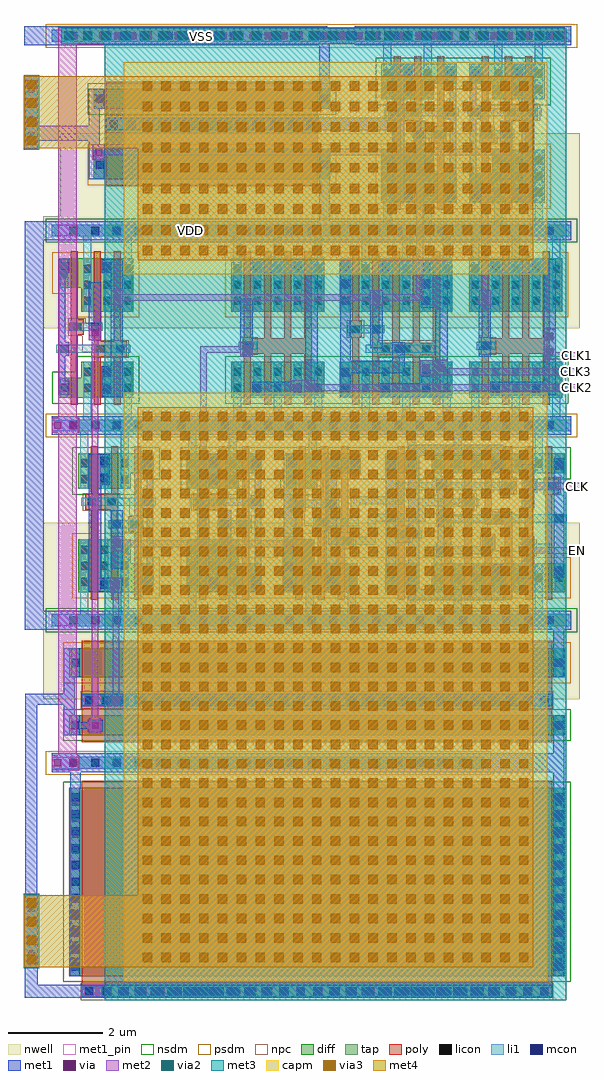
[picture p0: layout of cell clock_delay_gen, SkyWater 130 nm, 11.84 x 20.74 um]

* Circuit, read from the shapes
.subckt clock_delay_gen CLK CLK1 CLK2 CLK3 EN VDD VSS
XM1 VSS CLKBUFX2_4/A n1 VSS sky130_fd_pr__nfet_01v8 w=0.425 l=0.15
XM2 VSS CLKBUFX2_4/A VSS VSS sky130_fd_pr__nfet_01v8 w=4 l=10
XM3 VSS CLKBUFX2_6/Y CLKBUFX2_4/A VSS sky130_fd_pr__nfet_01v8 w=0.42 l=10
XM4 CLKBUFX2_6/Y n2 VSS VSS sky130_fd_pr__nfet_01v8 w=0.76 l=0.15 m=2
XM5 CLKBUFX2_7/A n1 VSS VSS sky130_fd_pr__nfet_01v8 w=0.76 l=0.15 m=2
XM6 VSS CLKBUFX2_7/Y CLKBUFX2_5/A VSS sky130_fd_pr__nfet_01v8 w=0.42 l=4.5
XM7 n2 CLKBUFX2_6/A VSS VSS sky130_fd_pr__nfet_01v8 w=0.425 l=0.15
XM8 CLKBUFX2_6/A n3 VSS VSS sky130_fd_pr__nfet_01v8 w=0.76 l=0.15 m=2
XM9 n3 CLKBUFX2_8/A VSS VSS sky130_fd_pr__nfet_01v8 w=0.425 l=0.15
XM10 CLK2 CLKBUFX2_6/A VSS VSS sky130_fd_pr__nfet_01v8 w=0.76 l=0.15 m=4
XM11 VSS n4 CLKBUFX2_8/A VSS sky130_fd_pr__nfet_01v8 w=0.76 l=0.15
XM12 n5 n6 VSS VSS sky130_fd_pr__nfet_01v8 w=0.425 l=0.15
XM13 n4 n7 n5 VSS sky130_fd_pr__nfet_01v8 w=0.425 l=0.15
XM14 VSS CLKBUFX2_7/A n8 VSS sky130_fd_pr__nfet_01v8 w=0.76 l=0.15
XM15 CLK3 n8 VSS VSS sky130_fd_pr__nfet_01v8 w=0.76 l=0.15 m=4
XM16 CLKBUFX2_7/Y n9 VSS VSS sky130_fd_pr__nfet_01v8 w=0.76 l=0.15 m=2
XM17 VSS n10 n7 VSS sky130_fd_pr__nfet_01v8 w=0.425 l=0.15
XM18 n9 CLKBUFX2_7/A VSS VSS sky130_fd_pr__nfet_01v8 w=0.425 l=0.15
XM19 VSS n11 n6 VSS sky130_fd_pr__nfet_01v8 w=0.425 l=0.15
XM20 n12 n7 VSS VSS sky130_fd_pr__nfet_01v8 w=0.425 l=0.15
XM21 CLK1 CLKINVX4_0_2/A VSS VSS sky130_fd_pr__nfet_01v8 w=0.76 l=0.15 m=4
XM22 VSS CLKBUFX2_5/A n13 VSS sky130_fd_pr__nfet_01v8 w=0.425 l=0.15
XM23 n10 n11 n12 VSS sky130_fd_pr__nfet_01v8 w=0.425 l=0.15
XM24 n14 n6 n10 VSS sky130_fd_pr__nfet_01v8 w=0.425 l=0.15
XM25 CLKINVX4_0_2/A n13 VSS VSS sky130_fd_pr__nfet_01v8 w=0.76 l=0.15 m=2
XM26 VSS EN n14 VSS sky130_fd_pr__nfet_01v8 w=0.425 l=0.15
XM27 n11 CLK VSS VSS sky130_fd_pr__nfet_01v8 w=0.425 l=0.15
XM28 VDD CLKBUFX2_4/A n1 VDD sky130_fd_pr__pfet_01v8 w=0.625 l=0.15
XM29 VDD CLKBUFX2_6/Y CLKBUFX2_4/A VDD sky130_fd_pr__pfet_01v8 w=0.62 l=10
XM30 CLKBUFX2_6/Y n2 VDD VDD sky130_fd_pr__pfet_01v8 w=1.13 l=0.15 m=2
XM31 CLKBUFX2_7/A n1 VDD VDD sky130_fd_pr__pfet_01v8 w=1.13 l=0.15 m=2
XM32 VDD CLKBUFX2_7/Y CLKBUFX2_5/A VDD sky130_fd_pr__pfet_01v8 w=0.62 l=4.5
XM33 n2 CLKBUFX2_6/A VDD VDD sky130_fd_pr__pfet_01v8 w=0.625 l=0.15
XM34 CLKBUFX2_6/A n3 VDD VDD sky130_fd_pr__pfet_01v8 w=1.13 l=0.15 m=2
XM35 n3 CLKBUFX2_8/A VDD VDD sky130_fd_pr__pfet_01v8 w=0.625 l=0.15
XM36 CLK2 CLKBUFX2_6/A VDD VDD sky130_fd_pr__pfet_01v8 w=1.13 l=0.15 m=4
XM37 VDD n4 CLKBUFX2_8/A VDD sky130_fd_pr__pfet_01v8 w=1.13 l=0.15
XM38 n4 n6 VDD VDD sky130_fd_pr__pfet_01v8 w=0.625 l=0.15
XM39 VDD n7 n4 VDD sky130_fd_pr__pfet_01v8 w=0.625 l=0.15
XM40 VDD CLKBUFX2_7/A n8 VDD sky130_fd_pr__pfet_01v8 w=1.13 l=0.15
XM41 CLK3 n8 VDD VDD sky130_fd_pr__pfet_01v8 w=1.13 l=0.15 m=4
XM42 CLKBUFX2_7/Y n9 VDD VDD sky130_fd_pr__pfet_01v8 w=1.13 l=0.15 m=2
XM43 VDD n10 n7 VDD sky130_fd_pr__pfet_01v8 w=0.625 l=0.15
XM44 n9 CLKBUFX2_7/A VDD VDD sky130_fd_pr__pfet_01v8 w=0.625 l=0.15
XM45 VDD n11 n6 VDD sky130_fd_pr__pfet_01v8 w=0.625 l=0.15
XM46 n15 n7 VDD VDD sky130_fd_pr__pfet_01v8 w=0.625 l=0.15
XM47 CLK1 CLKINVX4_0_2/A VDD VDD sky130_fd_pr__pfet_01v8 w=1.13 l=0.15 m=4
XM48 VDD CLKBUFX2_5/A n13 VDD sky130_fd_pr__pfet_01v8 w=0.625 l=0.15
XM49 n10 n6 n15 VDD sky130_fd_pr__pfet_01v8 w=0.625 l=0.15
XM50 n16 n11 n10 VDD sky130_fd_pr__pfet_01v8 w=0.625 l=0.15
XM51 CLKINVX4_0_2/A n13 VDD VDD sky130_fd_pr__pfet_01v8 w=1.13 l=0.15 m=2
XM52 VDD EN n16 VDD sky130_fd_pr__pfet_01v8 w=0.625 l=0.15
XM53 n11 CLK VDD VDD sky130_fd_pr__pfet_01v8 w=0.625 l=0.15
XC54 CLKBUFX2_4/A VSS sky130_fd_pr__cap_mim_m3_1 w=9 l=12.5
XC55 CLKBUFX2_5/A VSS sky130_fd_pr__cap_mim_m3_1 w=9 l=4.5
.ends

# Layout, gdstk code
from math import pi, radians
import gdstk
lib = gdstk.Library(unit=1e-6, precision=1e-09)
def R(c, l, rs):  # rectangles x0, y0, x1, y1
    for r in rs: c.add(gdstk.rectangle(r[:2], r[2:], *l))
def A(c, l, x, y, w, h, nx, ny, dx, dy):  # array of equal rectangles
    R(c, l, [(x+i*dx, y+j*dy, x+i*dx+w, y+j*dy+h) for i in range(nx) for j in range(ny)])
nwell = (64, 20)
diff = (65, 20)
tap = (65, 44)
poly = (66, 20)
licon = (66, 44)
li1 = (67, 20)
mcon = (67, 44)
met1_pin = (68, 16)
met1 = (68, 20)
via = (68, 44)
met2 = (69, 20)
via2 = (69, 44)
met3 = (70, 20)
via3 = (70, 44)
met4 = (71, 20)
capm = (89, 44)
nsdm = (93, 44)
psdm = (94, 20)
npc = (95, 20)

icgx1 = lib.new_cell('ICGX1')
R(icgx1, nwell, [(-0.18,2.07,6.62,4.445)])
R(icgx1, diff, [(0.135,0.59,2.965,1.015), (3.275,0.59,3.955,1.015), (4.475,0.59,6.06,1.015), (5.395,1.015,6.06,1.35), (5.465,2.42,6.13,2.925), (0.135,2.925,2.965,3.55), (3.275,2.925,3.955,3.55), (4.545,2.925,6.13,3.55)])
R(icgx1, tap, [(0,-0.125,6.44,0.125), (0,4.015,6.44,4.265)])
R(icgx1, poly, [(0.4,0.44,0.55,1.125), (0.83,0.44,0.98,1.11), (1.26,0.44,1.41,1.125), (1.69,0.44,1.84,1.835), (2.12,0.44,2.27,1.465), (2.55,0.44,2.7,1.805), (3.54,0.44,3.69,2.145), (4.74,0.44,4.89,2.285), (5.17,0.44,5.32,1.895), (5.645,0.44,5.795,1.5), (0.83,1.11,0.985,1.165), (0.27,1.125,0.55,1.455), (1.21,1.125,1.48,1.455), (0.835,1.165,0.985,2.435), (0.4,1.455,0.55,3.7), (2.06,1.465,2.33,1.795), (5.645,1.5,5.915,1.83), (2.12,1.795,2.27,3.7), (2.55,1.805,2.82,2.135), (5.715,1.83,5.865,3.7), (1.26,1.835,1.84,2.105), (5.17,1.895,5.44,2.225), (1.26,2.105,1.41,3.7), (2.55,2.135,2.7,3.7), (3.42,2.145,3.69,2.475), (5.24,2.225,5.39,3.7), (4.62,2.285,4.96,2.615), (1.62,2.315,1.89,2.645), (0.78,2.435,1.05,2.765), (3.54,2.475,3.69,3.7), (4.81,2.615,4.96,3.7), (1.69,2.645,1.84,3.7), (0.83,2.765,0.985,2.78), (0.83,2.78,0.98,3.7)])
A(icgx1, licon, 0.375, -0.085, 0.17, 0.17, 13, 2, 0.46, 4.14)
A(icgx1, licon, 0.175, 0.715, 0.17, 0.17, 7, 2, 0.43, 2.435)
A(icgx1, licon, 5.92, 2.56, 0.17, 0.17, 1, 3, 0, 0.34)
R(icgx1, licon, [(5.405,0.71,5.575,0.88), (3.315,0.715,3.485,0.885), (3.745,0.715,3.915,0.885), (4.515,0.715,4.685,0.885), (4.945,0.715,5.115,0.885), (5.85,0.715,6.02,0.885), (5.85,1.055,6.02,1.225), (0.32,1.205,0.49,1.375), (1.26,1.205,1.43,1.375), (2.11,1.545,2.28,1.715), (5.695,1.58,5.865,1.75), (1.465,1.885,1.635,2.055), (2.6,1.885,2.77,2.055), (5.22,1.975,5.39,2.145), (3.47,2.225,3.64,2.395), (4.67,2.365,4.84,2.535), (1.67,2.395,1.84,2.565), (0.83,2.515,1,2.685), (3.315,3.15,3.485,3.32), (3.745,3.15,3.915,3.32), (4.585,3.15,4.755,3.32), (5.015,3.15,5.185,3.32), (5.475,3.15,5.645,3.32)])
A(icgx1, li1, 1.035, 0.59, 0.17, 0.425, 3, 1, 0.43, 0)
A(icgx1, li1, 1.035, 2.925, 0.17, 0.625, 3, 1, 0.43, 0)
R(icgx1, li1, [(0,-0.125,6.44,0.125), (0.605,0.125,0.775,1.015), (2.325,0.125,2.495,1.015), (3.315,0.125,3.485,1.015), (5.405,0.125,5.575,1.01), (0.175,0.59,0.345,1.015), (2.755,0.59,2.925,1.205), (3.745,0.59,3.915,1.015), (4.515,0.59,4.685,1.015), (4.945,0.59,5.115,1.015), (5.85,0.59,6.02,1.35), (0.24,1.205,1,1.375), (1.18,1.205,3.705,1.375), (3.535,1.375,3.705,1.51), (3.535,1.51,4.685,1.68), (1.98,1.545,3.26,1.715), (4.935,1.58,6.005,1.75), (4.515,1.68,4.685,1.975), (3.09,1.715,3.26,1.88), (3.09,1.88,4.33,2.05), (0.095,1.885,2.85,2.055), (4.515,1.975,5.48,2.145), (4.16,2.05,4.33,2.365), (3.18,2.225,3.76,2.395), (1.67,2.315,1.84,2.565), (4.16,2.365,5.1,2.535), (5.92,2.42,6.09,3.55), (0.455,2.515,1.115,2.685), (1.67,2.565,2.925,2.735), (2.755,2.735,2.925,3.55), (0.175,2.925,0.345,3.55), (0.605,2.925,0.775,4.015), (2.325,2.925,2.495,4.015), (3.315,2.925,3.485,4.015), (3.745,2.925,3.915,3.55), (4.585,2.925,4.755,4.015), (5.015,2.925,5.185,3.55), (5.475,2.945,5.645,4.015), (0,4.015,6.44,4.265)])
A(icgx1, mcon, 0.375, -0.085, 0.17, 0.17, 13, 2, 0.46, 4.14)
A(icgx1, mcon, 0.175, 0.765, 0.17, 0.17, 1, 3, 0, 1.12)
R(icgx1, mcon, [(5.85,0.67,6.02,0.84), (4.515,0.715,4.685,0.885), (1.465,0.765,1.635,0.935), (3.745,0.765,3.915,0.935), (0.75,1.205,0.92,1.375), (2.675,1.205,2.845,1.375), (5.015,1.58,5.185,1.75), (3.745,1.88,3.915,2.05), (3.26,2.225,3.43,2.395), (0.83,2.515,1,2.685), (2.675,2.565,2.845,2.735), (5.92,2.92,6.09,3.09), (1.465,3.005,1.635,3.175), (3.745,3.005,3.915,3.175), (5.015,3.185,5.185,3.355), (5.92,3.28,6.09,3.45)])
R(icgx1, met1_pin, [(0,-0.2,6.44,0.2), (0.79,0.83,1.05,1.75), (5.89,1.73,6.11,3.51), (0.79,2.34,1.05,3.255), (0,3.94,6.44,4.34)])
R(icgx1, met1, [(0,-0.2,6.44,0.2), (1.435,0.415,3.46,0.645), (5.82,0.61,6.05,0.625), (5.82,0.625,6.11,0.9), (1.435,0.645,1.665,0.995), (3.23,0.645,3.46,3.485), (4.485,0.655,4.715,0.685), (4.485,0.685,5.215,0.915), (0.145,0.695,0.375,3.235), (3.715,0.705,3.945,3.235), (0.79,0.83,1.05,1.145), (5.85,0.9,6.11,2.86), (4.485,0.915,4.715,0.945), (4.985,0.915,5.215,3.46), (0.72,1.145,1.05,1.435), (2.645,1.145,2.875,1.435), (0.79,1.435,1.05,1.75), (2.7,1.435,2.84,2.505), (0.79,2.34,1.05,3.255), (2.645,2.505,2.875,2.795), (5.85,2.86,6.12,3.38), (1.435,2.945,1.665,3.485), (5.89,3.38,6.12,3.51), (1.435,3.485,3.46,3.715), (0,3.94,6.44,4.34)])
R(icgx1, nsdm, [(0.01,0.465,6.185,1.14), (5.27,1.14,6.185,1.475), (-0.125,3.89,6.565,4.39)])
R(icgx1, psdm, [(-0.125,-0.25,6.565,0.25), (5.34,2.295,6.255,2.8), (0.01,2.8,6.255,3.675)])
R(icgx1, npc, [(0.22,1.105,0.59,1.475), (1.16,1.105,1.53,1.475), (2.01,1.445,2.38,1.665), (5.595,1.48,5.965,1.59), (5.405,1.59,5.965,1.85), (2.01,1.665,2.725,1.785), (1.365,1.785,1.735,1.885), (2.01,1.785,2.87,1.815), (2.155,1.815,2.87,1.935), (5.405,1.85,5.68,1.875), (5.12,1.875,5.68,1.975), (1.095,1.885,1.735,1.995), (2.5,1.935,2.87,2.155), (4.895,1.975,5.68,2.135), (1.095,1.995,1.79,2.295), (3.37,2.125,3.74,2.495), (4.895,2.135,5.49,2.245), (4.895,2.245,5.165,2.265), (4.57,2.265,5.165,2.535), (1.095,2.295,1.94,2.415), (0.73,2.415,1.94,2.665), (4.57,2.535,4.94,2.635), (0.73,2.665,1.645,2.675), (0.73,2.675,1.37,2.685), (0.73,2.685,1.1,2.785)])
icgx1.add(gdstk.Label('ECK', (6,2.62), layer=68, texttype=5))
icgx1.add(gdstk.Label('VDD', (3.22,4.14), layer=68, texttype=5))
icgx1.add(gdstk.Label('VSS', (3.22,0), layer=68, texttype=5))
icgx1.add(gdstk.Label('E', (0.92,2.797), layer=68, texttype=5))
icgx1.add(gdstk.Label('CK', (0.92,1.29), layer=68, texttype=5))

clkinvx4_0 = lib.new_cell('CLKINVX4_0')
R(clkinvx4_0, nwell, [(-0.18,2.07,2.48,4.445)])
R(clkinvx4_0, diff, [(0.135,0.59,2.105,1.35), (0.135,2.42,2.105,3.55)])
R(clkinvx4_0, tap, [(0,-0.125,2.3,0.125), (0,4.015,2.3,4.265)])
A(clkinvx4_0, poly, 0.4, 0.44, 0.15, 1.085, 4, 1, 0.43, 0)
A(clkinvx4_0, poly, 0.4, 1.855, 0.15, 1.845, 4, 1, 0.43, 0)
R(clkinvx4_0, poly, [(0.38,1.525,1.84,1.855)])
A(clkinvx4_0, licon, 0.375, -0.085, 0.17, 0.17, 4, 2, 0.46, 4.14)
A(clkinvx4_0, licon, 0.175, 0.715, 0.17, 0.17, 5, 2, 0.43, 0.34)
A(clkinvx4_0, licon, 0.175, 2.56, 0.17, 0.17, 5, 3, 0.43, 0.34)
R(clkinvx4_0, licon, [(0.43,1.605,0.6,1.775)])
A(clkinvx4_0, li1, 0.175, 0.125, 0.17, 1.225, 3, 1, 0.86, 0)
A(clkinvx4_0, li1, 0.175, 2.42, 0.17, 1.595, 3, 1, 0.86, 0)
R(clkinvx4_0, li1, [(0,-0.125,2.3,0.125), (0.605,0.59,0.775,1.35), (1.465,0.59,1.635,1.35), (0.295,1.605,0.68,1.775), (0.605,2.42,0.775,3.55), (1.465,2.42,1.635,3.55), (0,4.015,2.3,4.265)])
A(clkinvx4_0, mcon, 0.375, -0.085, 0.17, 0.17, 4, 2, 0.46, 4.14)
R(clkinvx4_0, mcon, [(0.605,0.7,0.775,0.87), (1.465,0.7,1.635,0.87), (0.375,1.605,0.545,1.775), (0.605,3.3,0.775,3.47), (1.465,3.3,1.635,3.47)])
R(clkinvx4_0, met1_pin, [(1.71,1.39,1.97,2.63), (0.33,1.455,0.59,2.695)])
R(clkinvx4_0, met1, [(0,-0.2,2.3,0.2), (0.575,0.64,1.97,0.93), (1.71,0.93,1.97,3.24), (0.33,1.455,0.59,2.695), (0.575,3.24,1.97,3.53), (0,3.94,2.3,4.34)])
R(clkinvx4_0, nsdm, [(0.01,0.465,2.23,1.475), (-0.125,3.89,2.425,4.39)])
R(clkinvx4_0, psdm, [(-0.125,-0.25,2.425,0.25), (0.01,2.295,2.23,3.675)])
R(clkinvx4_0, npc, [(0.33,1.505,0.7,1.875)])
clkinvx4_0.add(gdstk.Label('VDD', (1.05,4.145), layer=68, texttype=5))
clkinvx4_0.add(gdstk.Label('VSS', (1.01,0.005), layer=68, texttype=5))
clkinvx4_0.add(gdstk.Label('A', (0.46,2.075), layer=68, texttype=5))
clkinvx4_0.add(gdstk.Label('Y', (1.84,2.01), layer=68, texttype=5))

clkbufx4 = lib.new_cell('CLKBUFX4')
R(clkbufx4, nwell, [(-0.18,2.07,2.94,4.445)])
R(clkbufx4, diff, [(0.135,0.59,2.535,1.35), (0.135,2.42,2.535,3.55)])
R(clkbufx4, tap, [(0,-0.125,2.76,0.125), (0,4.015,2.76,4.265)])
A(clkbufx4, poly, 0.83, 0.44, 0.15, 1.05, 4, 1, 0.43, 0)
A(clkbufx4, poly, 0.83, 1.76, 0.15, 1.94, 4, 1, 0.43, 0)
R(clkbufx4, poly, [(0.4,0.44,0.55,1.88), (0.83,1.49,2.27,1.76), (0.34,1.88,0.61,2.21), (0.4,2.21,0.55,3.7)])
A(clkbufx4, licon, 0.375, -0.085, 0.17, 0.17, 5, 2, 0.46, 4.14)
A(clkbufx4, licon, 0.175, 0.715, 0.17, 0.17, 6, 2, 0.43, 0.34)
A(clkbufx4, licon, 1.035, 1.54, 0.17, 0.17, 3, 1, 0.43, 0)
A(clkbufx4, licon, 0.175, 2.56, 0.17, 0.17, 6, 3, 0.43, 0.34)
R(clkbufx4, licon, [(0.39,1.96,0.56,2.13)])
A(clkbufx4, li1, 0.605, 0.125, 0.17, 1.225, 3, 1, 0.86, 0)
A(clkbufx4, li1, 0.175, 0.59, 0.17, 0.76, 3, 1, 0.86, 0)
A(clkbufx4, li1, 0.175, 2.42, 0.17, 1.13, 3, 1, 0.86, 0)
A(clkbufx4, li1, 0.605, 2.42, 0.17, 1.595, 3, 1, 0.86, 0)
R(clkbufx4, li1, [(0,-0.125,2.76,0.125), (0.69,1.54,2.145,1.71), (0.31,1.96,1.085,2.13), (0,4.015,2.76,4.265)])
A(clkbufx4, mcon, 0.375, -0.085, 0.17, 0.17, 5, 2, 0.46, 4.14)
A(clkbufx4, mcon, 0.175, 0.67, 0.17, 0.17, 3, 2, 0.86, 2.615)
R(clkbufx4, mcon, [(0.175,1.03,0.345,1.2), (1.895,1.03,2.065,1.2), (1.305,1.54,1.475,1.71), (0.835,1.96,1.005,2.13), (0.175,2.565,0.345,2.735), (1.895,2.565,2.065,2.735), (0.175,2.925,0.345,3.095), (1.895,2.925,2.065,3.095)])
R(clkbufx4, met1_pin, [(2.17,1.395,2.43,2.635), (0.79,1.635,1.05,2.875)])
R(clkbufx4, met1, [(0,-0.2,2.76,0.2), (0.145,0.61,0.375,1.11), (1.005,0.61,2.43,0.9), (1.865,0.9,2.43,1.26), (0.145,1.11,1.52,1.37), (2.17,1.26,2.43,2.505), (0.145,1.37,0.375,3.515), (1.26,1.37,1.52,1.77), (0.79,1.635,1.05,2.875), (1.865,2.505,2.43,3.225), (1.005,3.225,2.43,3.515), (0,3.94,2.76,4.34)])
R(clkbufx4, nsdm, [(0.01,0.465,2.66,1.475), (-0.125,3.89,2.885,4.39)])
R(clkbufx4, psdm, [(-0.125,-0.25,2.885,0.25), (0.01,2.295,2.66,3.675)])
R(clkbufx4, npc, [(0.935,1.44,2.165,1.81), (0.29,1.86,0.66,2.23)])
clkbufx4.add(gdstk.Label('VDD', (1.525,4.145), layer=68, texttype=5))
clkbufx4.add(gdstk.Label('VDD', (1.525,4.145), layer=68, texttype=5))
clkbufx4.add(gdstk.Label('VSS', (1.525,0.005), layer=68, texttype=5))
clkbufx4.add(gdstk.Label('A', (0.92,2.255), layer=68, texttype=5))
clkbufx4.add(gdstk.Label('Y', (2.3,2.015), layer=68, texttype=5))

clkbufx2 = lib.new_cell('CLKBUFX2')
R(clkbufx2, nwell, [(-0.18,2.07,2.48,4.445)])
R(clkbufx2, diff, [(0.135,0.59,1.735,1.015), (0.625,1.015,1.735,1.35), (0.625,2.42,1.735,2.925), (0.135,2.925,1.735,3.55)])
R(clkbufx2, tap, [(0,-0.125,2.3,0.125), (0,4.015,2.3,4.265)])
R(clkbufx2, poly, [(0.4,0.44,0.55,1.93), (0.89,0.44,1.04,1.46), (1.32,0.44,1.47,1.46), (0.89,1.46,1.59,1.79), (0.89,1.79,1.04,3.7), (1.32,1.79,1.47,3.7), (0.4,1.93,0.675,2.26), (0.4,2.26,0.55,3.7)])
A(clkbufx2, licon, 0.375, -0.085, 0.17, 0.17, 4, 2, 0.46, 4.14)
A(clkbufx2, licon, 0.665, 0.715, 0.17, 0.17, 3, 2, 0.43, 0.34)
A(clkbufx2, licon, 0.665, 2.56, 0.17, 0.17, 3, 3, 0.43, 0.34)
R(clkbufx2, licon, [(0.175,0.715,0.345,0.885), (0.94,1.54,1.11,1.71), (1.37,1.54,1.54,1.71), (0.455,2.01,0.625,2.18), (0.175,3.15,0.345,3.32)])
R(clkbufx2, li1, [(0,-0.125,2.3,0.125), (0.665,0.125,0.835,1.35), (1.525,0.125,1.695,1.35), (0.175,0.59,0.345,1.015), (1.095,0.59,1.265,1.35), (0.095,1.54,1.67,1.71), (0.375,2.01,1.085,2.18), (0.665,2.42,0.835,4.015), (1.095,2.42,1.265,3.55), (1.525,2.42,1.695,4.015), (0.175,2.925,0.345,3.55), (0,4.015,2.3,4.265)])
A(clkbufx2, mcon, 0.375, -0.085, 0.17, 0.17, 4, 2, 0.46, 4.14)
R(clkbufx2, mcon, [(1.095,0.67,1.265,0.84), (0.175,0.715,0.345,0.885), (1.095,1.03,1.265,1.2), (0.175,1.54,0.345,1.71), (0.835,2.01,1.005,2.18), (0.175,3.3,0.345,3.47), (1.095,3.3,1.265,3.47)])
R(clkbufx2, met1_pin, [(1.25,1.46,1.51,2.7), (0.79,1.805,1.05,3.045)])
R(clkbufx2, met1, [(0,-0.2,2.3,0.2), (1.065,0.61,1.51,1.26), (0.145,0.655,0.375,0.945), (0.145,0.945,0.285,1.48), (1.25,1.26,1.51,3.24), (0.145,1.48,0.375,1.77), (0.145,1.77,0.285,3.24), (0.79,1.805,1.05,3.045), (0.145,3.24,0.375,3.53), (1.065,3.24,1.51,3.53), (0,3.94,2.3,4.34)])
R(clkbufx2, nsdm, [(0.01,0.465,1.86,1.14), (0.5,1.14,1.86,1.475), (-0.125,3.89,2.425,4.39)])
R(clkbufx2, psdm, [(-0.125,-0.25,2.425,0.25), (0.5,2.295,1.86,2.8), (0.01,2.8,1.86,3.675)])
R(clkbufx2, npc, [(0.84,1.44,1.64,1.55), (0.645,1.55,1.64,1.81), (0.645,1.81,1.325,1.815), (0.645,1.815,0.92,1.91), (0.355,1.91,0.92,2.17), (0.355,2.17,0.725,2.28)])
clkbufx2.add(gdstk.Label('VDD', (1.05,4.145), layer=68, texttype=5))
clkbufx2.add(gdstk.Label('VSS', (1.01,0.005), layer=68, texttype=5))
clkbufx2.add(gdstk.Label('Y', (1.38,2.08), layer=68, texttype=5))
clkbufx2.add(gdstk.Label('A', (0.92,2.425), layer=68, texttype=5))

clock_delay_gen = lib.new_cell('clock_delay_gen')
R(clock_delay_gen, nwell, [(0.535,6.48,11.935,7.855), (3.195,14.37,4.215,16.745), (0.895,16.745,6.975,18.51)])
R(clock_delay_gen, diff, [(1.085,0.6,11.615,4.6), (1.085,5.72,11.615,6.14), (1.085,6.95,11.615,7.57), (1.605,17.53,6.635,18.15), (1.605,19.03,6.635,19.45)])
R(clock_delay_gen, tap, [(0.715,5.005,9.915,5.255), (3.015,16.315,4.395,16.565), (0.715,20.455,7.155,20.705)])
R(clock_delay_gen, poly, [(1.35,0.14,11.35,4.75), (1.35,5.57,11.35,7.72), (1.87,17.38,6.37,19.6)])
A(clock_delay_gen, licon, 1.43, 0.19, 0.17, 0.17, 3, 2, 0.35, 6.19)
A(clock_delay_gen, licon, 2.475, 0.19, 0.17, 0.17, 26, 2, 0.345, 6.19)
A(clock_delay_gen, licon, 1.125, 0.815, 0.17, 0.17, 1, 11, 0, 0.34)
A(clock_delay_gen, licon, 11.405, 0.815, 0.17, 0.17, 1, 11, 0, 0.34)
A(clock_delay_gen, licon, 1.09, 5.045, 0.17, 0.17, 19, 1, 0.46, 0)
A(clock_delay_gen, licon, 1.95, 18.62, 0.17, 0.17, 7, 1, 0.345, 0)
A(clock_delay_gen, licon, 4.37, 18.62, 0.17, 0.17, 6, 1, 0.35, 0)
A(clock_delay_gen, licon, 1.735, 20.495, 0.17, 0.17, 12, 1, 0.46, 0)
R(clock_delay_gen, licon, [(1.125,5.845,1.295,6.015), (11.405,5.845,11.575,6.015), (1.125,7.175,1.295,7.345), (11.405,7.175,11.575,7.345), (3.39,16.355,3.56,16.525), (3.85,16.355,4.02,16.525), (1.645,17.755,1.815,17.925), (6.425,17.755,6.595,17.925), (1.645,19.155,1.815,19.325), (6.425,19.155,6.595,19.325), (1.09,20.495,1.26,20.665)])
R(clock_delay_gen, li1, [(1.35,0.16,11.35,0.39), (1.125,0.6,1.295,4.6), (11.405,0.6,11.575,4.6), (0.715,5.005,9.915,5.255), (1.125,5.72,1.295,6.14), (11.405,5.72,11.575,6.14), (1.35,6.35,11.35,6.58), (1.125,6.95,1.295,7.57), (11.405,6.95,11.575,7.57), (3.015,16.315,4.395,16.565), (1.645,17.53,1.815,18.15), (6.425,17.53,6.595,18.15), (1.87,18.59,6.37,18.82), (1.645,19.03,1.815,19.45), (6.425,19.03,6.595,19.45), (0.715,20.455,7.155,20.705)])
A(clock_delay_gen, mcon, 1.43, 0.19, 0.17, 0.17, 11, 2, 0.375, 6.19)
A(clock_delay_gen, mcon, 5.55, 0.19, 0.17, 0.17, 16, 2, 0.37, 6.19)
A(clock_delay_gen, mcon, 1.125, 0.715, 0.17, 0.17, 1, 11, 0, 0.36)
A(clock_delay_gen, mcon, 11.405, 0.715, 0.17, 0.17, 1, 11, 0, 0.36)
A(clock_delay_gen, mcon, 1.09, 5.045, 0.17, 0.17, 19, 1, 0.46, 0)
A(clock_delay_gen, mcon, 1.95, 18.62, 0.17, 0.17, 3, 1, 0.375, 0)
A(clock_delay_gen, mcon, 3.08, 18.62, 0.17, 0.17, 9, 1, 0.38, 0)
A(clock_delay_gen, mcon, 1.735, 20.495, 0.17, 0.17, 12, 1, 0.46, 0)
R(clock_delay_gen, mcon, [(1.125,5.845,1.295,6.015), (11.405,5.845,11.575,6.015), (1.125,7.175,1.295,7.345), (11.405,7.175,11.575,7.345), (3.39,16.355,3.56,16.525), (3.85,16.355,4.02,16.525), (1.645,17.755,1.815,17.925), (6.425,17.755,6.595,17.925), (1.645,19.155,1.815,19.325), (6.425,19.155,6.595,19.325), (1.09,20.495,1.26,20.665)])
R(clock_delay_gen, met1, [(0.145,0.14,11.35,0.41), (0.145,0.41,0.415,2.255), (1.095,0.6,1.325,4.6), (11.375,0.6,11.605,4.93), (0.15,2.255,0.41,6.365), (1.105,4.6,1.335,4.93), (0.715,4.93,11.605,5.33), (11.375,5.33,11.605,6.14), (0.97,5.72,1.325,5.85), (1.475,5.79,1.795,5.85), (0.97,5.85,1.795,5.99), (0.97,5.99,1.325,6.14), (1.475,5.99,1.795,6.05), (0.97,6.14,1.2,6.365), (1.35,6.33,11.35,6.6), (0.15,6.365,1.2,6.595), (0.97,6.595,1.2,6.95), (0.97,6.95,1.325,7.57), (11.375,6.95,11.605,8.16), (0.14,7.96,0.715,8.36), (0.14,8.36,0.54,16.24), (1.95,8.74,2.21,9.06), (10.705,9.32,10.965,9.96), (1.965,9.625,2.225,9.945), (3.805,9.625,4.065,9.945), (4.265,9.625,4.525,9.945), (5.645,9.625,5.905,9.945), (10.705,10.69,10.965,11.33), (3.805,11.37,4.065,11.69), (0.715,12.14,1.295,12.46), (5.785,12.94,6.365,13.26), (8.545,13.37,9.125,13.69), (11.165,13.71,11.425,14.35), (4.725,13.755,4.985,14.075), (1.505,14.105,1.765,14.425), (9.785,14.85,10.045,15.17), (1.965,14.855,2.225,15.175), (7.485,14.855,7.745,15.175), (0.14,16.24,0.715,16.64), (3.015,16.24,4.395,16.64), (6.395,16.44,6.625,18.15), (10.705,17.05,10.965,17.37), (1.5,17.53,1.845,18.27), (8.405,17.535,8.665,17.855), (10.245,17.95,10.505,18.27), (0.15,18.25,0.41,18.35), (1.5,18.27,1.73,18.35), (0.15,18.35,1.73,18.67), (1.87,18.57,8.075,18.84), (0.15,18.67,0.41,19.65), (1.5,18.67,1.73,19.03), (1.5,19.03,1.845,19.45), (6.395,19.03,6.625,20.38), (0.135,20.38,6.625,20.42), (0.135,20.42,11.58,20.74), (0.135,20.74,6.57,20.78)])
A(clock_delay_gen, via, 0.205, 1, 0.15, 0.15, 1, 4, 0, 0.32)
A(clock_delay_gen, via, 0.205, 18.395, 0.15, 0.15, 1, 4, 0, 0.32)
A(clock_delay_gen, via, 1.085, 20.505, 0.15, 0.15, 33, 1, 0.32, 0)
R(clock_delay_gen, via, [(0.77,5.055,0.92,5.205), (1.09,5.055,1.24,5.205), (1.56,5.845,1.71,5.995), (2.005,6.39,2.155,6.54), (2.005,8.825,2.155,8.975), (10.76,9.405,10.91,9.555), (2.02,9.71,2.17,9.86), (3.86,9.71,4.01,9.86), (4.32,9.71,4.47,9.86), (5.7,9.71,5.85,9.86), (10.76,9.725,10.91,9.875), (10.76,10.775,10.91,10.925), (10.76,11.095,10.91,11.245), (3.86,11.455,4.01,11.605), (0.77,12.225,0.92,12.375), (1.09,12.225,1.24,12.375), (5.84,13.025,5.99,13.175), (6.16,13.025,6.31,13.175), (8.6,13.455,8.75,13.605), (8.92,13.455,9.07,13.605), (11.22,13.795,11.37,13.945), (4.78,13.84,4.93,13.99), (11.22,14.115,11.37,14.265), (1.56,14.19,1.71,14.34), (9.84,14.935,9.99,15.085), (2.02,14.94,2.17,15.09), (7.54,14.94,7.69,15.09), (10.76,17.135,10.91,17.285), (8.46,17.62,8.61,17.77), (1.64,18.035,1.79,18.185), (10.3,18.035,10.45,18.185)])
R(clock_delay_gen, met2, [(0.14,0.77,0.42,2.34), (0.715,4.97,1.295,5.29), (0.85,5.29,1.25,12.14), (1.505,5.76,1.765,6.08), (1.565,6.08,1.705,14.105), (1.92,6.335,2.24,6.595), (2.01,6.595,2.15,8.74), (1.95,8.74,2.21,9.06), (10.705,9.32,10.965,9.57), (10.705,9.57,11.95,9.71), (1.965,9.625,2.225,9.715), (3.805,9.625,4.065,9.715), (4.265,9.625,4.525,9.715), (5.645,9.625,5.905,9.715), (10.705,9.71,10.965,9.96), (1.965,9.715,4.065,9.855), (4.265,9.715,5.905,9.855), (1.965,9.855,2.225,9.945), (3.805,9.855,4.065,9.945), (4.265,9.855,4.525,9.945), (5.645,9.855,5.905,9.945), (10.705,10.69,10.965,10.94), (10.705,10.94,11.95,11.08), (10.705,11.08,10.965,11.33), (3.805,11.37,4.065,11.69), (3.865,11.69,4.005,13.845), (0.715,12.14,1.295,12.46), (0.85,12.46,1.25,20.395), (5.785,12.94,6.365,13.03), (5.785,13.03,11.95,13.17), (5.785,13.17,6.365,13.26), (8.545,13.37,11.95,13.51), (8.545,13.51,9.125,13.69), (11.165,13.71,11.95,13.85), (4.725,13.755,4.985,13.845), (3.865,13.845,4.985,13.985), (11.165,13.85,11.425,14.35), (4.725,13.985,4.985,14.075), (1.505,14.105,1.765,14.425), (9.785,14.85,10.045,15.17), (1.965,14.855,2.225,14.945), (7.485,14.855,7.745,14.945), (1.965,14.945,8.605,15.085), (1.965,15.085,2.225,15.175), (7.485,15.085,7.745,15.175), (8.465,15.085,8.605,17.535), (9.845,15.17,9.985,17.14), (10.705,17.05,10.965,17.14), (9.845,17.14,10.965,17.28), (10.705,17.28,10.965,17.37), (8.405,17.535,8.665,17.855), (1.585,17.95,1.845,18.04), (10.245,17.95,10.505,18.04), (1.585,18.04,10.505,18.18), (0.14,18.165,0.42,19.735), (1.585,18.18,1.845,18.27), (10.245,18.18,10.505,18.27), (0.85,20.395,11.62,20.765)])
A(clock_delay_gen, via2, 0.18, 0.855, 0.2, 0.2, 1, 4, 0, 0.4)
A(clock_delay_gen, via2, 0.18, 18.25, 0.2, 0.2, 1, 4, 0, 0.4)
A(clock_delay_gen, via2, 0.98, 20.48, 0.2, 0.2, 27, 1, 0.4, 0)
R(clock_delay_gen, met3, [(1.845,0.09,11.645,20.415), (0.115,0.765,0.445,2.345), (0.115,18.16,0.445,19.74), (0.915,20.415,11.645,20.745)])
A(clock_delay_gen, via3, 0.18, 0.855, 0.2, 0.2, 1, 4, 0, 0.4)
A(clock_delay_gen, via3, 2.645, 0.89, 0.2, 0.2, 21, 5, 0.4, 0.415)
A(clock_delay_gen, via3, 2.645, 2.96, 0.2, 0.2, 21, 24, 0.4, 0.41)
A(clock_delay_gen, via3, 2.645, 15.915, 0.2, 0.2, 21, 5, 0.4, 0.44)
A(clock_delay_gen, via3, 2.645, 18.11, 0.2, 0.2, 21, 4, 0.4, 0.435)
A(clock_delay_gen, via3, 0.18, 18.25, 0.2, 0.2, 1, 4, 0, 0.4)
R(clock_delay_gen, met4, [(0.115,0.79,10.945,2.32), (2.545,2.32,10.945,12.69), (2.545,15.815,10.945,18.185), (0.115,18.185,10.945,19.715)])
R(clock_delay_gen, capm, [(2.245,0.49,11.245,12.99), (2.245,15.515,11.245,20.015)])
R(clock_delay_gen, nsdm, [(0.96,0.475,11.74,4.725), (0.96,5.595,11.74,6.265), (5.305,11.16,5.57,11.835), (6.625,12.765,6.705,13.775), (9.355,12.765,9.465,13.775), (2.89,16.19,4.52,16.69), (1.48,18.905,6.76,19.575), (9.445,19.44,9.465,20.115)])
R(clock_delay_gen, psdm, [(0.59,4.88,10.04,5.38), (0.96,6.825,11.74,7.695), (5.305,8.625,5.5,9.5), (6.625,14.595,6.705,15.975), (9.355,14.595,9.465,15.975), (9.445,16.905,9.465,17.78), (1.48,17.405,6.76,18.275), (0.59,20.33,7.28,20.83)])
R(clock_delay_gen, npc, [(1.33,0.09,11.37,0.46), (1.33,6.28,11.37,6.65), (1.85,18.52,6.39,18.89)])
clock_delay_gen.add(gdstk.Reference(icgx1, (11.755,12.3), rotation=pi))
clock_delay_gen.add(gdstk.Reference(clkinvx4_0, (4.395,12.3)))
clock_delay_gen.add(gdstk.Reference(clkinvx4_0, (9.455,12.3)))
clock_delay_gen.add(gdstk.Reference(clkbufx4, (6.695,12.3)))
clock_delay_gen.add(gdstk.Reference(clkbufx2, (0.715,12.3)))
clock_delay_gen.add(gdstk.Reference(clkbufx2, (9.455,20.58), x_reflection=True))
clock_delay_gen.add(gdstk.Reference(clkbufx2, (3.015,12.3), rotation=pi))
clock_delay_gen.add(gdstk.Reference(clkbufx2, (9.455,20.58), rotation=pi))
clock_delay_gen.add(gdstk.Reference(clkbufx2, (5.315,12.3), rotation=pi))
clock_delay_gen.add(gdstk.Label('VDD', (3.66,16.445), layer=68, texttype=5))
clock_delay_gen.add(gdstk.Label('VSS', (3.9,20.575), layer=68, texttype=5))
clock_delay_gen.add(gdstk.Label('EN', (11.885,9.64), layer=69, texttype=5))
clock_delay_gen.add(gdstk.Label('CLK3', (11.855,13.44), layer=69, texttype=5))
clock_delay_gen.add(gdstk.Label('CLK2', (11.885,13.1), layer=69, texttype=5))
clock_delay_gen.add(gdstk.Label('CLK1', (11.885,13.78), layer=69, texttype=5))
clock_delay_gen.add(gdstk.Label('CLK', (11.885,11.01), layer=69, texttype=5))

lib.write_gds('clock_delay_gen.gds')
